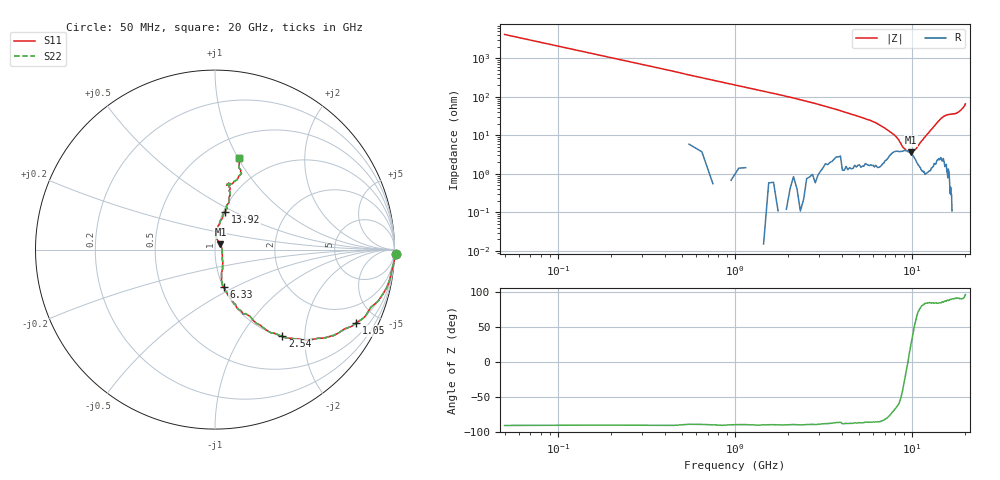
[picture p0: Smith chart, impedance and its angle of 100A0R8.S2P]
!  American Technical Ceramics  Date:  11/13/98
!  One Norden Lane
!  Huntington Station,  NY.  11746-2102
!  Tel:  (516) 622-4700  Fax:  (516) 622-4748
!  Part Number  100A0R8
!  Description: Porcelain, High Q, Low ESR
!  Application: Bypass, Coupling, Timing, Feedback
!  Tuning, Impedance Match, Blocking
# GHZ S DB R 50
! Freq  |S11|  S11 Ph  |S21|  S21 Ph  |S12|  S12 Ph  |S22|  S22 Ph
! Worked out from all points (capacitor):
!   201 points, 50 MHz to 20 GHz, reference 50 ohm
!   read as one part in series: C = 767 fF near 150 MHz
!   lowest |Z| = 3.66 ohm at 9.83 GHz (marker M1)
!   series resonance near 9.475 GHz, so ESL is about 370 pH
!   S11 on the Smith chart (normalised r, x): 50 MHz: -20, -73; 1.05 GHz: 1.01, -3.86; 2.54 GHz: 1.00, -1.55; 6.33 GHz: 1.00, -0.44; 13.92 GHz: 1.02, +0.45; 20 GHz: 0.71, +1.01
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0.05  0.06 -1.5  -32.32 89.3  -32.32 89.3  0.06 -1.5
0.15  -0.01 -4.2  -22.83 86.2  -22.83 86.2  -0.01 -4.2
0.35  -0.11 -9.9  -15.56 80.7  -15.56 80.7  -0.11 -9.9
0.65  -0.42 -17.6  -10.33 71.7  -10.33 71.7  -0.42 -17.6
1.05  -1.04 -27.4  -6.80 62.2  -6.80 62.2  -1.04 -27.4
1.75  -2.43 -40.9  -3.68 49.1  -3.68 49.1  -2.43 -40.9
2.54  -4.28 -52.2  -2.02 37.0  -2.02 37.0  -4.28 -52.2
3.44  -6.75 -61.2  -1.20 26.7  -1.20 26.7  -6.75 -61.2
4.64  -9.45 -69.4  -0.59 17.6  -0.59 17.6  -9.45 -69.4
6.33  -13.36 -77.2  -0.38 10.1  -0.38 10.1  -13.36 -77.2
6.73  -14.67 -77.5  -0.33 8.6  -0.33 8.6  -14.67 -77.5
8.13  -20.89 -61.4  -0.36 4.5  -0.36 4.5  -20.89 -61.4
8.93  -27.38 -19.9  -0.32 2.1  -0.32 2.1  -27.38 -19.9
9.83  -27.40 45.3  -0.31 0.1  -0.31 0.1  -27.40 45.3
10.03  -26.85 54.0  -0.31 -0.3  -0.31 -0.3  -26.85 54.0
13.42  -15.09 77.3  -0.38 -9.7  -0.38 -9.7  -15.09 77.3
13.92  -13.16 75.0  -0.49 -11.3  -0.49 -11.3  -13.16 75.0
15.21  -9.58 75.5  -0.87 -14.5  -0.87 -14.5  -9.58 75.5
16.71  -8.56 78.4  -1.05 -16.0  -1.05 -16.0  -8.56 78.4
18.7  -8.22 74.5  -1.42 -24.1  -1.42 -24.1  -8.22 74.5
19.5  -6.97 70.8  -2.00 -29.4  -2.00 -29.4  -6.97 70.8
20  -5.54 75.5  -3.24 -34.3  -3.24 -34.3  -5.54 75.5
